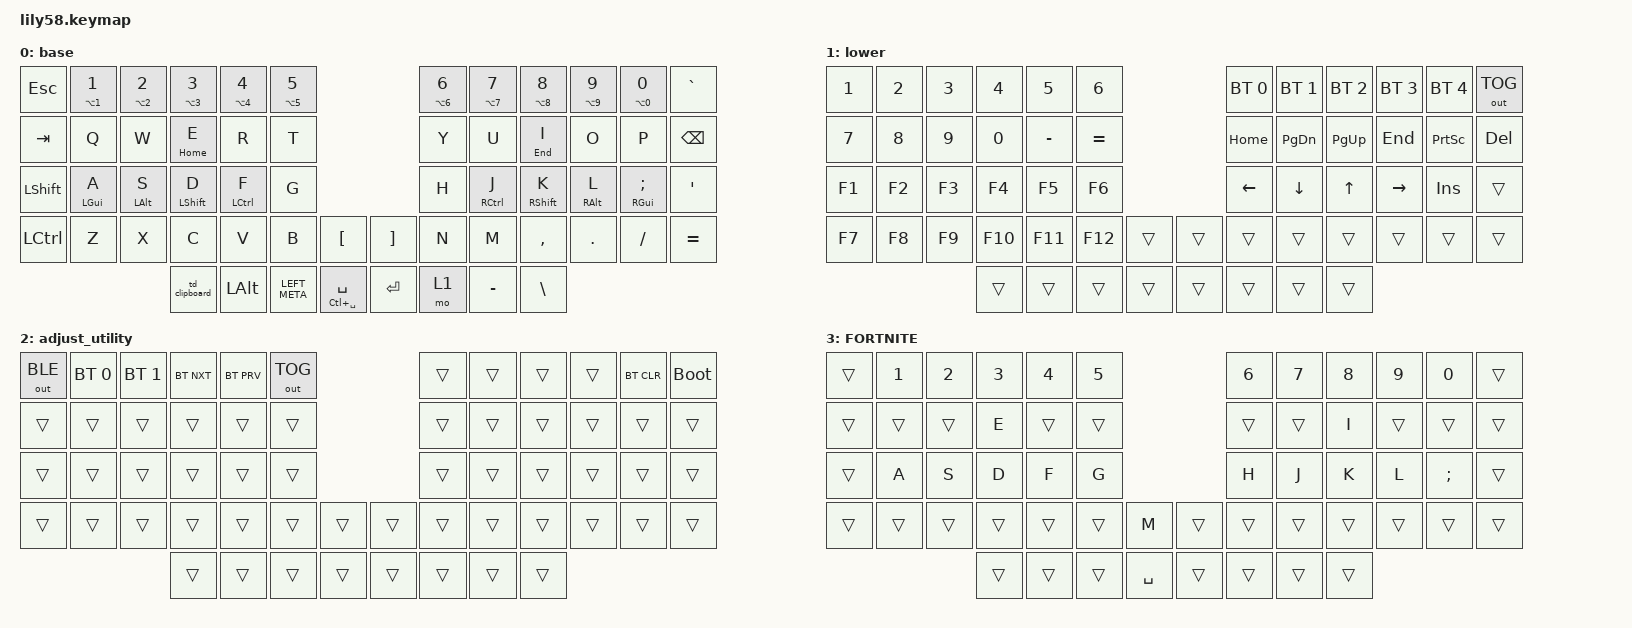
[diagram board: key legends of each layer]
/*
 * Copyright (c) 2020 The ZMK Contributors
 *
 * SPDX-License-Identifier: MIT
 */

#include <behaviors.dtsi>
#include <dt-bindings/zmk/bt.h>
#include <dt-bindings/zmk/keys.h>
#include <dt-bindings/zmk/outputs.h>

/ {
    combos {
        compatible = "zmk,combos";

        // Rapid USB <-> BT Toggle

        out_toggle {
            bindings = <&out OUT_TOG>;
            key-positions = <11 12>;
            layers = <0 1 2 3>;
            require-prior-idle-ms = <150>;
        };

        // Toggle Fortnite Layer (S symmetric across hands)

        to_fortnite {
            bindings = <&to 3>;
            key-positions = <55 3>;
            layers = <0 1 2 3>;
            require-prior-idle-ms = <150>;
        };

        // Return to base (momentary)

        to_base {
            bindings = <&to 0>;
            key-positions = <55 10>;
            layers = <1 2 3>;
        };

        // Jump to adjust layer

        to_adjust {
            bindings = <&to 2>;
            key-positions = <55 2>;
            layers = <0 1 2 3>;
        };

        to_mac_air {
            bindings = <&bt BT_SEL 1>;
            key-positions = <41 2>;
        };

        to_mac_pro {
            bindings = <&bt BT_SEL 0>;
            key-positions = <41 1>;
        };

        reconnect_mac_air_profile {
            bindings = <&clear_mac_air_profile>;
            key-positions = <41 2 16>;
        };

        reconnect_mac_pro_profile {
            bindings = <&clear_mac_pro_profile>;
            key-positions = <41 1 16>;
        };
    };

    behaviors {
        // Timeless home-row mods: opposite-hand chords resolve holds immediately.

        left_home_row: left_home_row {
            compatible = "zmk,behavior-hold-tap";
            label = "LEFT_HOME_ROW";
            #binding-cells = <2>;
            tapping-term-ms = <280>;
            quick-tap-ms = <175>;
            require-prior-idle-ms = <150>;
            flavor = "balanced";
            bindings = <&kp>, <&kp>;

            hold-trigger-key-positions = <6 7 8 9 10 11 18 19 20 21 22 23 30 31 32 33 34 35 43 44 45 46 47 48 49 54 55 56 57>;
            hold-trigger-on-release;
        };

        right_home_row: right_home_row {
            compatible = "zmk,behavior-hold-tap";
            label = "RIGHT_HOME_ROW";
            #binding-cells = <2>;
            tapping-term-ms = <280>;
            quick-tap-ms = <175>;
            require-prior-idle-ms = <150>;
            flavor = "balanced";
            bindings = <&kp>, <&kp>;

            hold-trigger-key-positions = <0 1 2 3 4 5 12 13 14 15 16 17 24 25 26 27 28 29 36 37 38 39 40 41 42 50 51 52 53>;
            hold-trigger-on-release;
        };

        tap_hold: tap_hold {
            compatible = "zmk,behavior-hold-tap";
            label = "TAP_HOLD";
            #binding-cells = <2>;
            tapping-term-ms = <280>;
            flavor = "tap-preferred";
            bindings = <&kp>, <&kp>;
        };

        hold_tap: hold_tap {
            compatible = "zmk,behavior-hold-tap";
            label = "HOLD_TAP";
            #binding-cells = <2>;
            tapping-term-ms = <300>;
            flavor = "tap-preferred";
            bindings = <&kp>, <&kp>;
        };

        space_hold_tap: space_hold_tap {
            compatible = "zmk,behavior-hold-tap";
            label = "SPACE_HOLD_TAP";
            #binding-cells = <2>;
            tapping-term-ms = <220>;
            quick-tap-ms = <175>;
            flavor = "tap-preferred";
            bindings = <&kp>, <&kp>;
        };

        layer_hold_tap: layer_hold_tap {
            compatible = "zmk,behavior-hold-tap";
            label = "LAYER_HOLD_TAP";
            #binding-cells = <2>;
            tapping-term-ms = <200>;
            quick-tap-ms = <175>;
            flavor = "hold-preferred";
            bindings = <&mo>, <&kp>;
        };

        hold_tap_layer: hold_tap_layer {
            compatible = "zmk,behavior-hold-tap";
            label = "HOLD_TAP_LAYER";
            #binding-cells = <2>;
            tapping-term-ms = <300>;
            flavor = "tap-preferred";
            bindings = <&kp>, <&to>;

            quick-tap-ms = <150>;
        };

        td_clipboard: td_clipboard {
            compatible = "zmk,behavior-tap-dance";
            label = "TD_CLIPBOARD";
            #binding-cells = <0>;
            tapping-term-ms = <200>;
            bindings = <&kp LG(C)>, <&kp LG(V)>, <&kp LS(LG(C))>;
        };

        mac_delete_all: mac_delete_all {
            compatible = "zmk,behavior-macro";
            label = "MAC_DELETE_ALL";
            #binding-cells = <0>;
            bindings = <&kp LG(A) &kp BSPC>;
        };

        clear_mac_air_profile: clear_mac_air_profile {
            compatible = "zmk,behavior-macro";
            #binding-cells = <0>;
            bindings = <&bt BT_SEL 1 &bt BT_CLR &bt BT_SEL 1>;
            label = "CLEAR_MAC_AIR_PROFILE";
        };

        clear_mac_pro_profile: clear_mac_pro_profile {
            compatible = "zmk,behavior-macro";
            #binding-cells = <0>;
            bindings = <&bt BT_SEL 0 &bt BT_CLR &bt BT_SEL 0>;
            label = "CLEAR_MAC_PRO_PROFILE";
        };

        td_bspc: td_bspc {
            compatible = "zmk,behavior-tap-dance";
            label = "TD_BSPC";
            #binding-cells = <0>;
            tapping-term-ms = <200>;
            bindings = <&kp BSPC>;
        };

        hold_kr_tap: hold_kr_tap {
            compatible = "zmk,behavior-hold-tap";
            label = "HOLD_KR_TAP";
            #binding-cells = <2>;
            tapping-term-ms = <300>;
            flavor = "tap-preferred";
            bindings = <&key_repeat>, <&kp>;
        };
    };

    macros {
    };

    keymap {
        compatible = "zmk,keymap";

        /*
         * Base layer - Full keyboard with LGui+Num workspace switching
         * LGui+Num works on Windows, Linux, and macOS (⌘+Num = workspace switch)
         */

        base {
            bindings = <
&kp ESCAPE        &hold_tap LA(NUMBER_1) NUMBER_1  &hold_tap LA(NUMBER_2) NUMBER_2  &hold_tap LA(NUMBER_3) NUMBER_3  &hold_tap LA(NUMBER_4) NUMBER_4  &hold_tap LA(NUMBER_5) N5                                                        &hold_tap LA(NUMBER_6) NUMBER_6  &hold_tap LA(NUMBER_7) N7        &hold_tap LA(NUMBER_8) N8      &hold_tap LA(NUMBER_9) N9  &hold_tap LA(NUMBER_0) N0  &kp GRAVE
&kp TAB           &kp Q                            &kp W                            &tap_hold HOME E                 &kp R                            &kp T                                                                            &kp Y                            &kp U                            &tap_hold END I                &kp O                      &kp P                      &kp BACKSPACE
&kp LEFT_SHIFT    &left_home_row LGUI A            &left_home_row LALT S            &left_home_row LEFT_SHIFT D      &left_home_row LEFT_CONTROL F    &kp G                                                                            &kp H                            &right_home_row RIGHT_CONTROL J  &right_home_row RIGHT_SHIFT K  &right_home_row RALT L     &right_home_row RGUI SEMI  &kp SQT
&kp LEFT_CONTROL  &kp Z                            &kp X                            &kp C                            &kp V                            &kp B                      &kp LEFT_BRACKET                   &kp RIGHT_BRACKET  &kp N                            &kp M                            &kp COMMA                      &kp DOT                    &kp FSLH                   &kp EQUAL
                                                                                    &td_clipboard                    &kp LEFT_ALT                     &kp LEFT_META              &space_hold_tap LC(SPACE) SPACE    &kp ENTER          &mo 1                            &kp MINUS                        &kp BACKSLASH
            >;
        };

        lower {
            bindings = <
&kp N1  &kp N2  &kp N3  &kp N4   &kp N5     &kp N6                       &bt BT_SEL 0  &bt BT_SEL 1   &bt BT_SEL 2  &bt BT_SEL 3  &bt BT_SEL 4     &out OUT_TOG
&kp N7  &kp N8  &kp N9  &kp N0   &kp MINUS  &kp EQUAL                    &kp HOME      &kp PAGE_DOWN  &kp PAGE_UP   &kp END       &kp PRINTSCREEN  &kp DELETE
&kp F1  &kp F2  &kp F3  &kp F4   &kp F5     &kp F6                       &kp LEFT      &kp DOWN       &kp UP_ARROW  &kp RIGHT     &kp INSERT       &trans
&kp F7  &kp F8  &kp F9  &kp F10  &kp F11    &kp F12    &trans    &trans  &trans        &trans         &trans        &trans        &trans           &trans
                        &trans   &trans     &trans     &trans    &trans  &trans        &trans         &trans
            >;
        };

        adjust_utility {
            bindings = <
&out OUT_BLE  &bt BT_SEL 0  &bt BT_SEL 1  &bt BT_NXT  &bt BT_PRV  &out OUT_TOG                    &trans  &trans  &trans  &trans  &bt BT_CLR  &bootloader
&trans        &trans        &trans        &trans      &trans      &trans                          &trans  &trans  &trans  &trans  &trans      &trans
&trans        &trans        &trans        &trans      &trans      &trans                          &trans  &trans  &trans  &trans  &trans      &trans
&trans        &trans        &trans        &trans      &trans      &trans        &trans    &trans  &trans  &trans  &trans  &trans  &trans      &trans
                                          &trans      &trans      &trans        &trans    &trans  &trans  &trans  &trans
            >;
        };

        FORTNITE {
            bindings = <
&trans  &kp N1  &kp N2  &kp N3  &kp N4  &kp N5                       &kp N6  &kp N7  &kp N8  &kp N9  &kp N0    &trans
&trans  &trans  &trans  &kp E   &trans  &trans                       &trans  &trans  &kp I   &trans  &trans    &trans
&trans  &kp A   &kp S   &kp D   &kp F   &kp G                        &kp H   &kp J   &kp K   &kp L   &kp SEMI  &trans
&trans  &trans  &trans  &trans  &trans  &trans  &kp M        &trans  &trans  &trans  &trans  &trans  &trans    &trans
                        &trans  &trans  &trans  &kp SPACE    &trans  &trans  &trans  &trans
            >;
        };
    };
};
